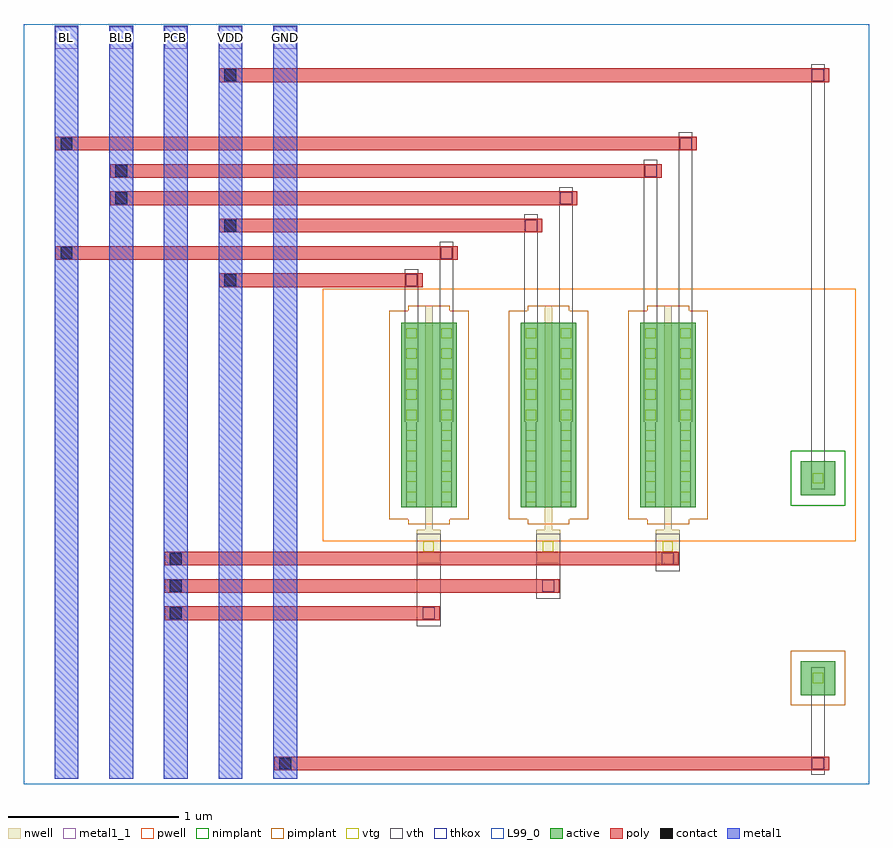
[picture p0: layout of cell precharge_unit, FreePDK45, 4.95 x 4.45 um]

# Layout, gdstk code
import gdstk
lib = gdstk.Library(unit=1e-6, precision=5e-10)
def R(c, l, rs):  # rectangles x0, y0, x1, y1
    for r in rs: c.add(gdstk.rectangle(r[:2], r[2:], *l))
def A(c, l, x, y, w, h, nx, ny, dx, dy):  # array of equal rectangles
    R(c, l, [(x+i*dx, y+j*dy, x+i*dx+w, y+j*dy+h) for i in range(nx) for j in range(ny)])
active = (1, 0)
pwell = (2, 0)
nwell = (3, 0)
nimplant = (4, 0)
pimplant = (5, 0)
vtg = (6, 0)
vth = (7, 0)
thkox = (8, 0)
poly = (9, 0)
contact = (10, 0)
metal1 = (11, 0)
metal1_1 = (11, 1)
L99_0 = (99, 0)

pmos1v_cdns_794040201490 = lib.new_cell('pmos1v_CDNS_794040201490')
R(pmos1v_cdns_794040201490, active, [(-0.14,0,0,1.08), (0,0,0.045,1.08), (0.045,0,0.185,1.08)])
R(pmos1v_cdns_794040201490, pwell, [(-0.2,-0.06,0.245,1.14)])
R(pmos1v_cdns_794040201490, nwell, [(0,-0.1,0.045,-0.05), (0,-0.05,0.045,0), (0,0,0.045,1.08), (0,1.08,0.045,1.13), (0,1.13,0.045,1.18)])
R(pmos1v_cdns_794040201490, pimplant, [(-0.1,-0.1,0.145,1.18), (-0.21,-0.07,0.255,1.15)])
A(pmos1v_cdns_794040201490, vtg, -0.11, 0.03, 0.06, 0.06, 1, 9, 0, 0.12)
A(pmos1v_cdns_794040201490, vtg, 0.095, 0.03, 0.06, 0.06, 1, 9, 0, 0.12)
R(pmos1v_cdns_794040201490, vth, [(-0.11,0,-0.05,1.08), (0.095,0,0.155,1.08)])

precharge_unit = lib.new_cell('precharge_unit')
R(precharge_unit, active, [(4.55,0.52,4.75,0.72), (4.55,1.69,4.75,1.89)])
R(precharge_unit, pwell, [(1.75,1.42,4.87,2.9)])
A(precharge_unit, nwell, 2.3, 1.29, 0.14, 0.2, 3, 1, 0.7, 0)
A(precharge_unit, nwell, 2.35, 1.29, 0.045, 0.28, 3, 1, 0.7, 0)
R(precharge_unit, nimplant, [(4.49,1.63,4.81,1.95)])
R(precharge_unit, pimplant, [(4.49,0.46,4.81,0.78)])
A(precharge_unit, vtg, 2.34, 1.36, 0.06, 0.06, 3, 1, 0.7, 0)
R(precharge_unit, vtg, [(4.62,0.59,4.68,0.65), (4.62,1.76,4.68,1.82)])
A(precharge_unit, vth, 2.3, 1.315, 0.14, 0.15, 3, 1, 0.7, 0)
R(precharge_unit, vth, [(4.61,0.055,4.69,0.185), (4.61,0.08,4.69,0.66), (4.61,0.555,4.69,0.685), (2.3,0.925,2.44,1.075), (2.3,0.93,2.44,1.46), (3,1.085,3.14,1.235), (3,1.09,3.14,1.46), (3.7,1.245,3.84,1.395), (3.7,1.25,3.84,1.46), (4.61,1.725,4.69,1.855), (4.61,1.75,4.69,4.19), (2.23,2.12,2.31,2.99), (2.435,2.12,2.515,3.15), (2.93,2.12,3.01,3.31), (3.135,2.12,3.215,3.47), (3.63,2.12,3.71,3.63), (3.835,2.12,3.915,3.79), (2.23,2.885,2.31,3.015), (2.435,3.045,2.515,3.175), (2.93,3.205,3.01,3.335), (3.135,3.365,3.215,3.495), (3.63,3.525,3.71,3.655), (3.835,3.685,3.915,3.815), (4.61,4.085,4.69,4.215)])
R(precharge_unit, thkox, [(4.615,0.085,4.685,0.155), (2.335,0.965,2.405,1.035), (3.035,1.125,3.105,1.195), (3.735,1.285,3.805,1.355), (2.235,2.915,2.305,2.985), (2.44,3.075,2.51,3.145), (2.935,3.235,3.005,3.305), (3.14,3.395,3.21,3.465), (3.635,3.555,3.705,3.625), (3.84,3.715,3.91,3.785), (4.615,4.115,4.685,4.185)])
A(precharge_unit, poly, 0.825, 0.96, 0.13, 0.08, 1, 3, 0, 0.16)
R(precharge_unit, poly, [(1.465,0.08,1.595,0.16), (1.49,0.08,4.69,0.16), (4.585,0.08,4.715,0.16), (0.85,0.96,2.41,1.04), (2.305,0.96,2.435,1.04), (0.85,1.12,3.11,1.2), (3.005,1.12,3.135,1.2), (0.85,1.28,3.81,1.36), (3.705,1.28,3.835,1.36), (1.145,2.91,1.275,2.99), (1.17,2.91,2.31,2.99), (2.205,2.91,2.335,2.99), (0.185,3.07,0.315,3.15), (0.21,3.07,2.515,3.15), (2.41,3.07,2.54,3.15), (1.145,3.23,1.275,3.31), (1.17,3.23,3.01,3.31), (2.905,3.23,3.035,3.31), (0.505,3.39,0.635,3.47), (0.53,3.39,3.215,3.47), (3.11,3.39,3.24,3.47), (0.505,3.55,0.635,3.63), (0.53,3.55,3.71,3.63), (3.605,3.55,3.735,3.63), (0.185,3.71,0.315,3.79), (0.21,3.71,3.915,3.79), (3.81,3.71,3.94,3.79), (1.145,4.11,1.275,4.19), (1.17,4.11,4.69,4.19), (4.585,4.11,4.715,4.19)])
A(precharge_unit, contact, 0.855, 0.965, 0.07, 0.07, 1, 3, 0, 0.16)
R(precharge_unit, contact, [(1.495,0.085,1.565,0.155), (1.175,2.915,1.245,2.985), (0.215,3.075,0.285,3.145), (1.175,3.235,1.245,3.305), (0.535,3.395,0.605,3.465), (0.535,3.555,0.605,3.625), (0.215,3.715,0.285,3.785), (1.175,4.115,1.245,4.185)])
A(precharge_unit, metal1, 0.18, 0.03, 0.14, 4.41, 5, 1, 0.32, 0)
A(precharge_unit, metal1, 0.85, 0.935, 0.08, 0.13, 1, 3, 0, 0.16)
R(precharge_unit, metal1, [(1.49,0.055,1.57,0.185), (1.17,2.885,1.25,3.015), (0.21,3.045,0.29,3.175), (1.17,3.205,1.25,3.335), (0.53,3.365,0.61,3.495), (0.53,3.525,0.61,3.655), (0.21,3.685,0.29,3.815), (1.17,4.085,1.25,4.215)])
A(precharge_unit, metal1_1, 0.185, 4.305, 0.13, 0.13, 5, 1, 0.32, 0)
R(precharge_unit, L99_0, [(0,0,4.95,4.45)])
precharge_unit.add(gdstk.Reference(pmos1v_cdns_794040201490, (3.75,1.62)))
precharge_unit.add(gdstk.Reference(pmos1v_cdns_794040201490, (3.05,1.62)))
precharge_unit.add(gdstk.Reference(pmos1v_cdns_794040201490, (2.35,1.62)))
precharge_unit.add(gdstk.Label('GND', (1.53,4.37), layer=11, texttype=3))
precharge_unit.add(gdstk.Label('VDD', (1.21,4.37), layer=11, texttype=3))
precharge_unit.add(gdstk.Label('PCB', (0.89,4.37), layer=11, texttype=3))
precharge_unit.add(gdstk.Label('BLB', (0.57,4.37), layer=11, texttype=3))
precharge_unit.add(gdstk.Label('BL', (0.25,4.37), layer=11, texttype=3))

lib.write_gds('precharge_unit.gds')
